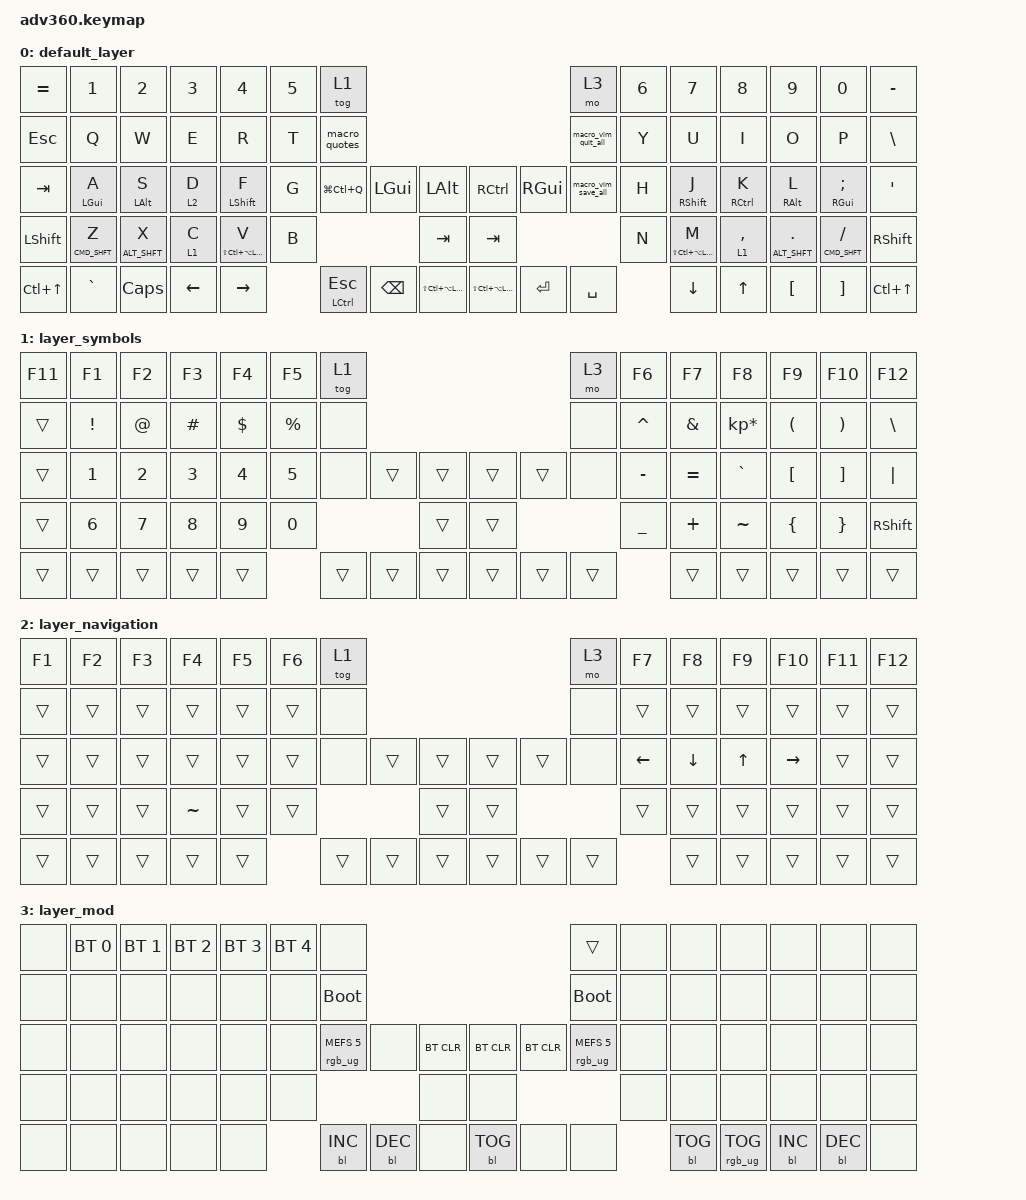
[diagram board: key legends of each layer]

/*
 * Copyright (c) 2020 The ZMK Contributors
 *
 * SPDX-License-Identifier: MIT
 */


#include <behaviors.dtsi>
#include <dt-bindings/zmk/keys.h>
#include <dt-bindings/zmk/bt.h>
#include <dt-bindings/zmk/rgb.h>
#include <dt-bindings/zmk/backlight.h>

#define HYP(key) LS(LC(LA(LG(key))))
#define HYPER    LS(LC(LA(LGUI)))
#define MACLOCK  LG(LC(Q))
#define CMD_SHFT  LG(LSHFT)
#define ALT_SHFT  LA(LSHFT)
#define CTRL_UP  LC(UP)

/*                                 ADVANTAGE 360 KEY MATRIX / LAYOUT MAPPING
 ╭────────────────────────────┬────────────────────────────╮ ╭────────────────────────────┬────────────────────────────╮
 │  0   1   2   3   4   5   6 │  7   8   9  10  11  12  13 │ │ LN5 LN4 LN3 LN2 LN1 LN0 -- │ --  RN0 RN1 RN2 RN3 RN4 RN5│
 │ 14  15  16  17  18  19  20 │ 21  22  23  24  25  26  27 │ │ LT5 LT4 LT3 LT2 LT1 LT0 -- │ --  RT0 RT1 RT2 RT3 RT4 RT5│
 │ 28  29  30  31  32  33  34 │ 35  36  37  38  39  40  41 │ │ LM5 LM4 LM3 LM2 LM1 LM0 -- │ --  RM0 RM1 RM2 RM3 RM4 RM5│
 │ 42  43  44  45  46  47 ╭───┴───╮ 48  49  50  51  52  53 │ │ LB5 LB4 LB3 LB2 LB1 LB0╭───┴───╮ RB0 RB1 RB2 RB3 RB4 RB5│
 │ 54  55  56  57  58╭────╯       ╰────╮59  60  61  62  63 │ │ --  --  --  --  --╭────╯       ╰────╮--  --  --  --  -- │
 ╰───────────────────┼────────┬────────┼───────────────────╯ ╰───────────────────┼────────┬────────┼───────────────────╯
                 ╭───╯ 64  65 │ 66  67 ╰───╮                                 ╭───╯ --  -- │ --  -- ╰───╮
                 │ 68  69  70 │ 71  72  73 │                                 │ LH1 LH0 -- │ --  RH0 RH1│
                 ╰───────╮ 74 │ 75 ╭───────╯                                 ╰───────╮ -- │ -- ╭───────╯
                         ╰────┴────╯                                                 ╰────┴────╯
source: https://github.com/urob/zmk-nodefree-config/blob/8506dbaaee9b46d200aa553a94b6dbca8560a5e1/keypos_def/keypos_adv360.h
*/

#define KEYS_LEFT 0 1 2 3 4 5 6 \
                  14 15 16 17 18 19 20 \
                  28 29 30 31 32 33 34 \
                  46 47 48 49 50 51\
                  60 61 62 63 64

#define KEYS_RIGHT 7 8 9 10 11 12 13 \
                   21 22 23 24 25 26 27 \
                   39 40 41 42 43 44 45 \
		   54 55 56 57 58 59 \
		   71 72 73 74 75

#define THUMBS_LEFT  35 36 52 65 66 67
#define THUMBS_RIGHT 37 38 53 68 69 70

#define THUMBS THUMBS_LEFT THUMBS_RIGHT


&lt {
    tapping-term-ms = <200>;
};


/ {
  behaviors {
    #include "macros.dtsi"

    hm: homerow_mods {
        compatible = "zmk,behavior-hold-tap";
        label = "homerow_mods";
        #binding-cells = <2>;
        flavor = "tap-preferred";
        tapping-term-ms = <200>;
        quick-tap-ms = <200>;
        bindings = <&kp>, <&kp>;
    };
    hm_l: homerow_mods_left {
        compatible = "zmk,behavior-hold-tap";
        label = "homerow_mods_left";
        #binding-cells = <2>;
        flavor = "balanced";
        tapping-term-ms = <200>;
        quick-tap-ms = <200>;
        bindings = <&kp>, <&kp>;
	hold-trigger-key-positions = <KEYS_RIGHT THUMBS_RIGHT>;
    };
    hm_r: homerow_mods_right {
        compatible = "zmk,behavior-hold-tap";
        label = "homerow_mods_right";
        #binding-cells = <2>;
        flavor = "balanced";
        tapping-term-ms = <200>;
        quick-tap-ms = <200>;
        bindings = <&kp>, <&kp>;
	hold-trigger-key-positions = <KEYS_LEFT THUMBS_LEFT>;
    };
    hm_c: homerow_mod_ctrl {
        compatible = "zmk,behavior-hold-tap";
        label = "homerow_mod_ctrl";
        #binding-cells = <2>;
        flavor = "hold-preferred";
        tapping-term-ms = <200>;
        //quick-tap-ms = <200>;
	retro-tap;
        bindings = <&kp>, <&kp>;
    };
  };

    // Home row mods
    #define _A_CMD   &hm_l LGUI  A
    #define _S_OPT   &hm_l LALT  S
    //#define _D_CTRL  &hm_l LCTRL D
    #define _F_SHFT  &hm_l LSHFT F
    #define _CMD_SHFT_Z  &hm_l CMD_SHFT Z
    #define _ALT_SHFT_X  &hm_l ALT_SHFT X
    #define _J_SHFT  &hm_r RSHFT J
    #define _K_CTRL  &hm_r RCTRL K
    #define _L_OPT   &hm_r RALT  L
    #define _SEMI_SHFT &hm_r RGUI SEMI
    #define _CMD_SHFT_FSLH  &hm_r CMD_SHFT FSLH
    #define _ALT_SHFT_DOT  &hm_r ALT_SHFT DOT

    // Thumb key mods
    #define _ESC_CTRL &hm_c LCTRL ESC
    //#define _SPACE_CTRL &hm_r RCTRL SPACE



    keymap {
        compatible = "zmk,keymap";


        default_layer {
            bindings = <
 &kp EQUAL   &kp N1         &kp N2      &kp N3       &kp N4         &kp N5       &tog 1                                                               &mo 3                   &kp N6     &kp N7         &kp N8          &kp N9         &kp N0            &kp MINUS
 &kp ESC     &kp Q          &kp W       &kp E        &kp R          &kp T        &macro_quotes                                                        &macro_vim_quit_all     &kp Y      &kp U          &kp I           &kp O          &kp P             &kp BSLH
 &kp TAB     _A_CMD         _S_OPT      &lt 2 D      _F_SHFT        &kp G        &kp MACLOCK    &kp LGUI    &kp LALT            &kp RCTRL  &kp RGUI   &macro_vim_save_all     &kp H      _J_SHFT        _K_CTRL         _L_OPT         _SEMI_SHFT        &kp SQT
 &kp LSHFT   _CMD_SHFT_Z    _ALT_SHFT_X &lt 1 C      &hm_l HYPER V  &kp B                                   &kp TAB             &kp TAB                                       &kp N      &hm_r HYPER M  &lt 1 COMMA     _ALT_SHFT_DOT  _CMD_SHFT_FSLH    &kp RSHFT
 &kp CTRL_UP &kp GRAVE      &kp CAPS    &kp LEFT     &kp RIGHT                   _ESC_CTRL      &kp BSPC    &kp HYPER           &kp HYPER  &kp ENTER  &kp SPACE                          &kp DOWN       &kp UP          &kp LBKT       &kp RBKT          &kp CTRL_UP
            >;
        };

        layer_symbols {
            bindings = <
 &kp F11     &kp F1         &kp F2      &kp F3       &kp F4         &kp F5       &tog 1                                                                &mo 3                  &kp F6     &kp F7         &kp F8          &kp F9         &kp F10           &kp F12
 &trans      &kp EXCL       &kp AT      &kp HASH     &kp DLLR       &kp PRCNT    &none                                                                 &none                  &kp CARET  &kp AMPS       &kp KP_MULTIPLY &kp LPAR       &kp RPAR          &kp BSLH
 &trans      &kp N1         &kp N2      &kp N3       &kp N4         &kp N5       &none          &trans      &trans              &trans     &trans      &none                  &kp MINUS  &kp EQUAL      &kp GRAVE       &kp LBKT       &kp RBKT          &kp PIPE
 &trans      &kp N6         &kp N7      &kp N8       &kp N9         &kp N0                                  &trans              &trans                                        &kp UNDER  &kp PLUS       &kp TILDE       &kp LBRC       &kp RBRC          &kp RSHFT
 &trans      &trans         &trans      &trans       &trans                      &trans         &trans      &trans              &trans     &trans      &trans                            &trans         &trans          &trans         &trans            &trans
            >;
        };

        layer_navigation {
            bindings = <
 &kp F1  &kp F2  &kp F3   &kp F4     &kp F5  &kp F6            &tog 1                                                   &mo 3  &kp F7  &kp F8  &kp F9  &kp F10  &kp F11  &kp F12
 &trans  &trans  &trans   &trans     &trans  &trans             &none                                                   &none  &trans  &trans  &trans   &trans   &trans   &trans
 &trans  &trans  &trans   &trans     &trans  &trans             &none  &trans  &trans                  &trans  &trans   &none  &kp LEFT &kp DOWN &kp UP &kp RIGHT   &trans   &trans
 &trans  &trans  &trans   &kp TILDE  &trans  &trans                            &trans                  &trans                  &trans  &trans  &trans   &trans   &trans   &trans
 &trans  &trans  &trans   &trans     &trans                    &trans  &trans  &trans                  &trans  &trans  &trans          &trans  &trans   &trans   &trans   &trans
            >;
        };

        layer_mod {
            bindings = <
  &none  &bt BT_SEL 0  &bt BT_SEL 1  &bt BT_SEL 2  &bt BT_SEL 3  &bt BT_SEL 4                             &none                                                                                  &trans   &none       &none            &none       &none       &none   &none
  &none         &none         &none         &none         &none         &none                       &bootloader                                                                             &bootloader   &none       &none            &none       &none       &none   &none
  &none         &none         &none         &none         &none         &none            &rgb_ug RGB_MEFS_CMD 5       &none  &bt BT_CLR                  &bt BT_CLR  &bt BT_CLR  &rgb_ug RGB_MEFS_CMD 5   &none       &none            &none       &none       &none   &none
  &none         &none         &none         &none         &none         &none                                                     &none                       &none                                       &none       &none            &none       &none       &none   &none
  &none         &none         &none         &none         &none                                      &bl BL_INC  &bl BL_DEC       &none                  &bl BL_TOG       &none                   &none          &bl BL_TOG  &rgb_ug RGB_TOG  &bl BL_INC  &bl BL_DEC   &none
            >;
        };

    };
};
